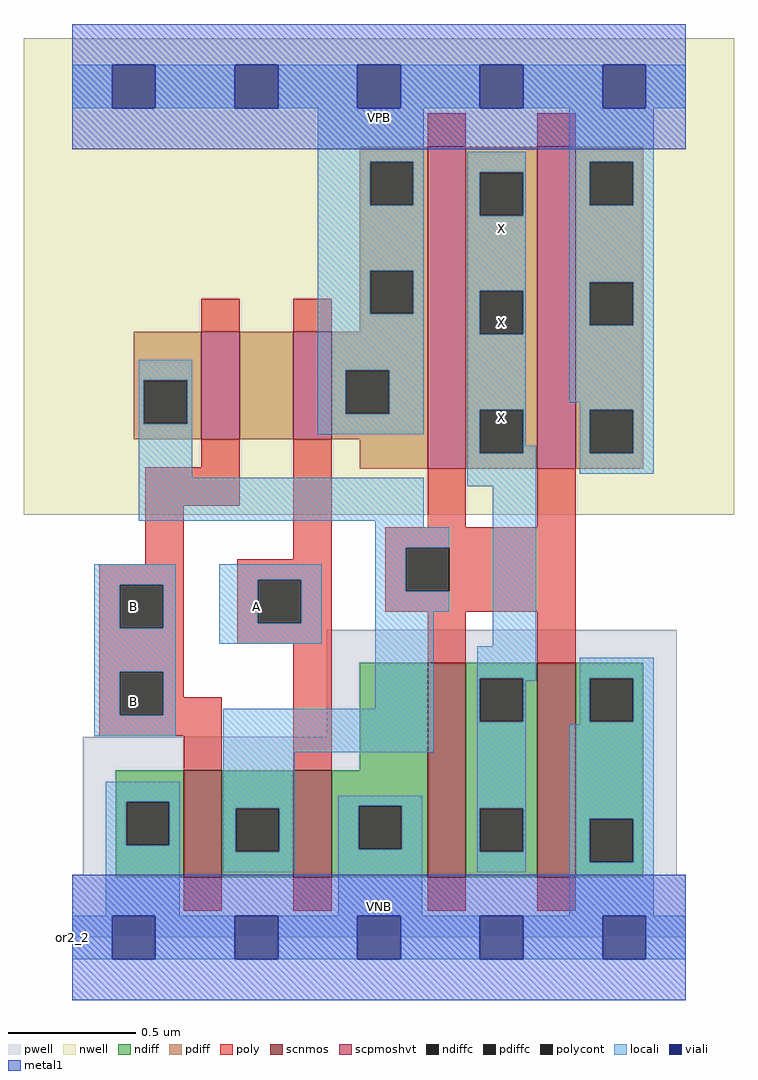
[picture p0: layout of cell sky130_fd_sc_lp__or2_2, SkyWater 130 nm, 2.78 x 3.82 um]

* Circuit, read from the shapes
.subckt sky130_fd_sc_lp__or2_2 A B VGND VNB VPB VPWR X
XM1 n1 B VGND VNB sky130_fd_pr__nfet_01v8 w=0.42 l=0.15
XM2 VGND A n1 VNB sky130_fd_pr__nfet_01v8 w=0.42 l=0.15
XM3 X n1 VGND VNB sky130_fd_pr__nfet_01v8 w=0.84 l=0.15 m=2
XM4 n2 B n1 VPB sky130_fd_pr__pfet_01v8_hvt w=0.42 l=0.15
XM5 VPWR A n2 VPB sky130_fd_pr__pfet_01v8_hvt w=0.42 l=0.15
XM6 X n1 VPWR VPB sky130_fd_pr__pfet_01v8_hvt w=1.26 l=0.15 m=2
.ends

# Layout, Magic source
magic
tech sky130A
magscale 1 2
<< nwell >>
rect -38 331 518 704
<< pwell >>
rect 199 157 473 241
rect 8 49 473 157
rect 0 0 480 49
<< scnmos >>
rect 87 47 117 131
rect 173 47 203 131
rect 278 47 308 215
rect 364 47 394 215
<< scpmoshvt >>
rect 101 390 131 474
rect 173 390 203 474
rect 278 367 308 619
rect 364 367 394 619
<< ndiff >>
rect 225 131 278 215
rect 34 106 87 131
rect 34 72 42 106
rect 76 72 87 106
rect 34 47 87 72
rect 117 101 173 131
rect 117 67 128 101
rect 162 67 173 101
rect 117 47 173 67
rect 203 103 278 131
rect 203 69 224 103
rect 258 69 278 103
rect 203 47 278 69
rect 308 203 364 215
rect 308 169 319 203
rect 353 169 364 203
rect 308 101 364 169
rect 308 67 319 101
rect 353 67 364 101
rect 308 47 364 67
rect 394 203 447 215
rect 394 169 405 203
rect 439 169 447 203
rect 394 93 447 169
rect 394 59 405 93
rect 439 59 447 93
rect 394 47 447 59
<< pdiff >>
rect 225 607 278 619
rect 225 573 233 607
rect 267 573 278 607
rect 225 522 278 573
rect 225 488 233 522
rect 267 488 278 522
rect 225 474 278 488
rect 48 436 101 474
rect 48 402 56 436
rect 90 402 101 436
rect 48 390 101 402
rect 131 390 173 474
rect 203 444 278 474
rect 203 410 214 444
rect 248 410 278 444
rect 203 390 278 410
rect 225 367 278 390
rect 308 599 364 619
rect 308 565 319 599
rect 353 565 364 599
rect 308 506 364 565
rect 308 472 319 506
rect 353 472 364 506
rect 308 413 364 472
rect 308 379 319 413
rect 353 379 364 413
rect 308 367 364 379
rect 394 607 447 619
rect 394 573 405 607
rect 439 573 447 607
rect 394 513 447 573
rect 394 479 405 513
rect 439 479 447 513
rect 394 413 447 479
rect 394 379 405 413
rect 439 379 447 413
rect 394 367 447 379
<< ndiffc >>
rect 42 72 76 106
rect 128 67 162 101
rect 224 69 258 103
rect 319 169 353 203
rect 319 67 353 101
rect 405 169 439 203
rect 405 59 439 93
<< pdiffc >>
rect 233 573 267 607
rect 233 488 267 522
rect 56 402 90 436
rect 214 410 248 444
rect 319 565 353 599
rect 319 472 353 506
rect 319 379 353 413
rect 405 573 439 607
rect 405 479 439 513
rect 405 379 439 413
<< poly >>
rect 278 619 308 645
rect 364 619 394 645
rect 101 474 131 500
rect 173 474 203 500
rect 101 368 131 390
rect 57 338 131 368
rect 57 292 87 338
rect 173 296 203 390
rect 278 321 308 367
rect 364 321 394 367
rect 21 276 87 292
rect 21 242 37 276
rect 71 242 87 276
rect 21 208 87 242
rect 129 280 203 296
rect 129 246 145 280
rect 179 246 203 280
rect 245 305 394 321
rect 245 271 261 305
rect 295 271 394 305
rect 245 255 394 271
rect 129 230 203 246
rect 21 174 37 208
rect 71 188 87 208
rect 71 174 117 188
rect 21 158 117 174
rect 87 131 117 158
rect 173 131 203 230
rect 278 215 308 255
rect 364 215 394 255
rect 87 21 117 47
rect 173 21 203 47
rect 278 21 308 47
rect 364 21 394 47
<< polycont >>
rect 37 242 71 276
rect 145 246 179 280
rect 261 271 295 305
rect 37 174 71 208
<< locali >>
rect 0 649 31 683
rect 65 649 127 683
rect 161 649 223 683
rect 257 649 319 683
rect 353 649 415 683
rect 449 649 480 683
rect 192 607 275 649
rect 192 573 233 607
rect 267 573 275 607
rect 192 522 275 573
rect 192 488 233 522
rect 267 488 275 522
rect 52 436 94 452
rect 52 402 56 436
rect 90 402 94 436
rect 52 360 94 402
rect 192 444 275 488
rect 192 410 214 444
rect 248 410 275 444
rect 192 394 275 410
rect 309 599 355 615
rect 309 565 319 599
rect 353 565 355 599
rect 309 506 355 565
rect 309 472 319 506
rect 353 472 355 506
rect 309 413 355 472
rect 389 607 455 649
rect 389 573 405 607
rect 439 573 455 607
rect 389 513 455 573
rect 389 479 405 513
rect 439 479 455 513
rect 389 419 455 479
rect 309 379 319 413
rect 353 385 355 413
rect 397 413 455 419
rect 353 379 363 385
rect 52 326 275 360
rect 309 353 363 379
rect 397 379 405 413
rect 439 379 455 413
rect 397 363 455 379
rect 237 321 275 326
rect 237 305 295 321
rect 17 276 81 292
rect 17 242 37 276
rect 71 242 81 276
rect 17 208 81 242
rect 115 280 195 292
rect 115 246 145 280
rect 179 246 195 280
rect 115 230 195 246
rect 237 271 261 305
rect 237 255 295 271
rect 17 174 37 208
rect 71 174 81 208
rect 237 179 283 255
rect 329 228 363 353
rect 17 158 81 174
rect 118 145 283 179
rect 317 203 363 228
rect 317 169 319 203
rect 353 201 363 203
rect 397 203 455 219
rect 353 169 355 201
rect 26 106 84 122
rect 26 72 42 106
rect 76 72 84 106
rect 26 17 84 72
rect 118 101 174 145
rect 118 67 128 101
rect 162 67 174 101
rect 118 51 174 67
rect 208 103 274 111
rect 208 69 224 103
rect 258 69 274 103
rect 208 17 274 69
rect 317 101 355 169
rect 397 169 405 203
rect 439 169 455 203
rect 397 167 455 169
rect 317 67 319 101
rect 353 67 355 101
rect 317 51 355 67
rect 389 93 455 167
rect 389 59 405 93
rect 439 59 455 93
rect 389 17 455 59
rect 0 -17 31 17
rect 65 -17 127 17
rect 161 -17 223 17
rect 257 -17 319 17
rect 353 -17 415 17
rect 449 -17 480 17
<< viali >>
rect 31 649 65 683
rect 127 649 161 683
rect 223 649 257 683
rect 319 649 353 683
rect 415 649 449 683
rect 31 -17 65 17
rect 127 -17 161 17
rect 223 -17 257 17
rect 319 -17 353 17
rect 415 -17 449 17
<< metal1 >>
rect 0 683 480 715
rect 0 649 31 683
rect 65 649 127 683
rect 161 649 223 683
rect 257 649 319 683
rect 353 649 415 683
rect 449 649 480 683
rect 0 617 480 649
rect 0 17 480 49
rect 0 -17 31 17
rect 65 -17 127 17
rect 161 -17 223 17
rect 257 -17 319 17
rect 353 -17 415 17
rect 449 -17 480 17
rect 0 -49 480 -17
<< labels >>
flabel pwell s 0 0 480 49 0 FreeSans 200 0 0 0 VNB
port 4 nsew ground bidirectional
flabel nwell s 0 617 480 666 0 FreeSans 200 0 0 0 VPB
port 5 nsew power bidirectional
rlabel comment s 0 0 0 0 4 or2_2
flabel metal1 s 0 617 480 666 0 FreeSans 340 0 0 0 VPWR
port 6 nsew power bidirectional
flabel metal1 s 0 0 480 49 0 FreeSans 340 0 0 0 VGND
port 3 nsew ground bidirectional
flabel locali s 319 390 353 424 0 FreeSans 340 0 0 0 X
port 7 nsew signal output
flabel locali s 319 464 353 498 0 FreeSans 340 0 0 0 X
port 7 nsew signal output
flabel locali s 319 538 353 572 0 FreeSans 340 0 0 0 X
port 7 nsew signal output
flabel locali s 127 242 161 276 0 FreeSans 340 0 0 0 A
port 1 nsew signal input
flabel locali s 31 168 65 202 0 FreeSans 340 0 0 0 B
port 2 nsew signal input
flabel locali s 31 242 65 276 0 FreeSans 340 0 0 0 B
port 2 nsew signal input
<< properties >>
string LEFsite unit
string LEFclass CORE
string FIXED_BBOX 0 0 480 666
string GDS_FILE $PDKPATH/libs.ref/sky130_fd_sc_lp/gds/sky130_fd_sc_lp.gds
string LEFsymmetry X Y R90
string GDS_END 6096006
string GDS_START 6090726
<< end >>
